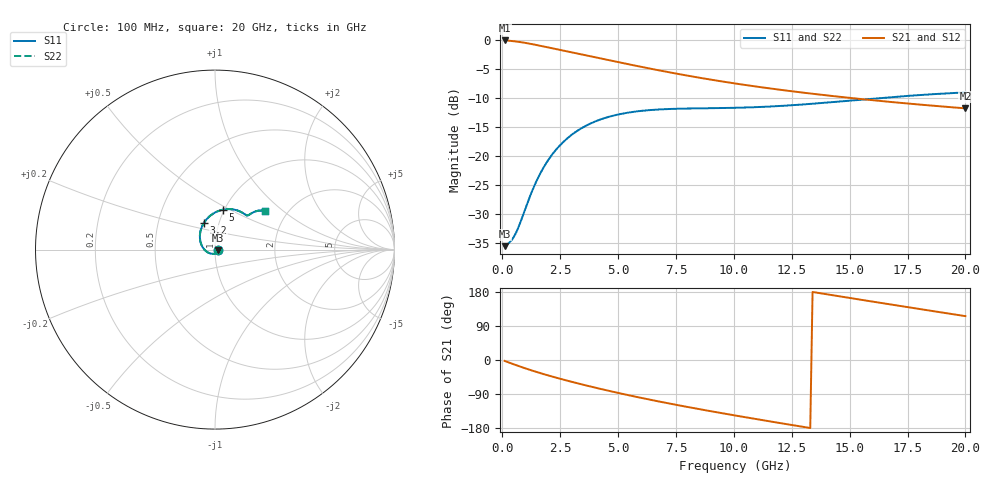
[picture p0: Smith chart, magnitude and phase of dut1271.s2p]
! Touchstone file exported from HFSS 2024.1.0
!  File:  C:/UserFiles/LocalFiles/RDL_TSV_Batchsim/temp_RDL_TSV_1271_1780274890.aedt
!  Generated:  09:01:33 AM Jun  1, 2026
!  Design:  RDL_TSV
!  Project:  temp_RDL_TSV_1271_1780274890
!  Setup:  Setup1
!  Solution:  Sweep
! Variables:
!  dtsv = 13.29um
!  hbump = 3um
!  htsv = 97.62um
!  ldown = 294.83um
!  lrdl = 584.81um
!  p = 40
!  p1 = 54.2um
!  rhole = 10um
!  subl = 3223.73um
!  t = 450um
!  tdown = 3.25um
!  trdl = 2.88um
!  viad = 10um
!  wdown = 22.5um
!  wrdl = 24.22um
!  xbump = 18um
# GHz S MA R 50.000000
! Terminal data exported
! Port[1] = TM1_1_T1
! Port[2] = TM1_4_T1
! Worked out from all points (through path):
!   200 points, 100 MHz to 20 GHz, reference 50 ohm
!   highest |S21| = -0.15 dB at 100 MHz (marker M1); lowest = -11.8 dB at 20 GHz (marker M2)
!   group delay of S21, straight-line fit = 31.8 ps
!   lowest |S11| = -35.5 dB at 100 MHz (marker M3), VSWR 1.03, Z = 51.7 - j0.405 ohm
!   |S11| at or under -10 dB: start of sweep to 16.47 GHz
!   |S22| runs from -35.5 to -9.1 dB; largest |S21 - S12| = 4.5e-14
!   S11 on the Smith chart (normalised r, x): 100 MHz: 1.03, -0.01; 3.2 GHz: 0.85, +0.26; 5 GHz: 0.99, +0.46; 20 GHz: 1.54, +0.76
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0.1  0.01676 -13.5  0.9826 -2.4  0.9826 -2.4  0.01676 -13.5
! Gamma 0 0 0 0
! Port Impedance 50 0 50 0
0.4  0.01887 -60.3  0.973 -9.3  0.973 -9.3  0.01887 -60.4
0.6  0.02199 -92.6  0.9629 -13.7  0.9629 -13.7  0.02199 -92.6
1  0.03541 -144.0  0.9363 -22.2  0.9363 -22.2  0.03543 -144.1
1.5  0.06213 176.5  0.8962 -32.0  0.8962 -32.0  0.06218 176.4
1.9  0.08683 155.2  0.8628 -39.3  0.8628 -39.3  0.08691 155.2
2.3  0.1118 138.8  0.8301 -46.2  0.8301 -46.2  0.1119 138.8
2.7  0.1356 125.5  0.7985 -52.8  0.7985 -52.8  0.1357 125.5
3.2  0.1625 111.8  0.7609 -60.7  0.7609 -60.7  0.1627 111.8
3.5  0.1767 104.8  0.7393 -65.3  0.7393 -65.3  0.177 104.8
4.2  0.2044 91.0  0.6912 -75.7  0.6912 -75.7  0.2047 91.0
5  0.2269 78.6  0.6403 -86.9  0.6403 -86.9  0.2272 78.7
5.9  0.2426 68.1  0.5883 -98.7  0.5883 -98.7  0.243 68.1
6.8  0.251 60.3  0.5423 -109.9  0.5423 -109.9  0.2514 60.3
8.3  0.2561 51.9  0.4779 -127.3  0.4779 -127.3  0.2565 51.9
10.1  0.2593 47.3  0.418 -146.9  0.418 -146.9  0.2597 47.3
11.7  0.2666 45.9  0.3769 -163.4  0.3769 -163.4  0.267 45.9
13.4  0.2809 45.2  0.3421 179.5  0.3421 179.5  0.2812 45.2
15.1  0.2999 44.1  0.314 162.8  0.314 162.8  0.3001 44.1
16.7  0.3189 42.5  0.2919 147.2  0.2919 147.2  0.3191 42.5
18.3  0.3363 40.3  0.2732 131.9  0.2732 131.9  0.3365 40.3
20  0.3513 37.7  0.2564 115.8  0.2564 115.8  0.3515 37.8
